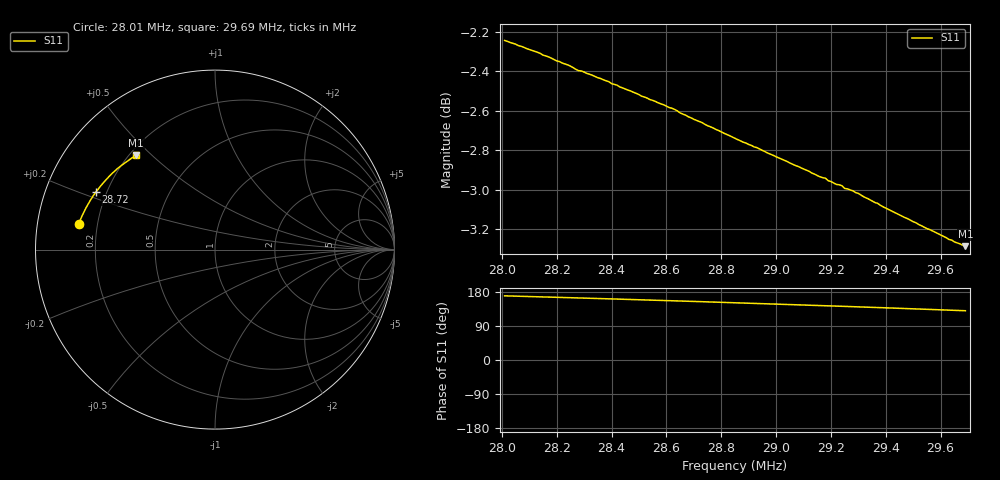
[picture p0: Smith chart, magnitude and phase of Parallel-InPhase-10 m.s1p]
# HZ S RI R 50
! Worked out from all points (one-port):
!   169 points, 28.01 MHz to 29.69 MHz, reference 50 ohm
!   lowest |S11| = -3.3 dB at 29.69 MHz (marker M1), VSWR 5.35, Z = 11.3 + j22.3 ohm
!   |S11| at or under -10 dB: nowhere
!   S11 on the Smith chart (normalised r, x): 28.01 MHz: 0.13, +0.09; 28.72 MHz: 0.16, +0.22; 29.69 MHz: 0.23, +0.45
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2.801e7  -0.7589 0.143
2.805002e7  -0.7552 0.1534
2.813005e7  -0.7469 0.1743
2.814005e7  -0.7458 0.1766
2.822008e7  -0.7362 0.1971
2.836014e7  -0.7186 0.2327
2.843017e7  -0.7088 0.2502
2.847018e7  -0.7032 0.2604
2.856022e7  -0.6896 0.2828
2.864025e7  -0.6766 0.3026
2.872028e7  -0.6627 0.3217
2.879031e7  -0.6501 0.3382
2.885034e7  -0.6388 0.3523
2.893037e7  -0.6235 0.3709
2.906042e7  -0.5966 0.4004
2.908043e7  -0.5927 0.4046
2.918047e7  -0.5709 0.4266
2.919047e7  -0.5681 0.4286
2.924049e7  -0.557 0.4395
2.92505e7  -0.5543 0.4412
2.92705e7  -0.55 0.4457
2.930052e7  -0.543 0.4519
2.936054e7  -0.528 0.4637
2.937054e7  -0.5254 0.4661
2.939055e7  -0.5204 0.4696
2.948059e7  -0.4973 0.487
2.959063e7  -0.4677 0.5074
2.969067e7  -0.4402 0.5248
